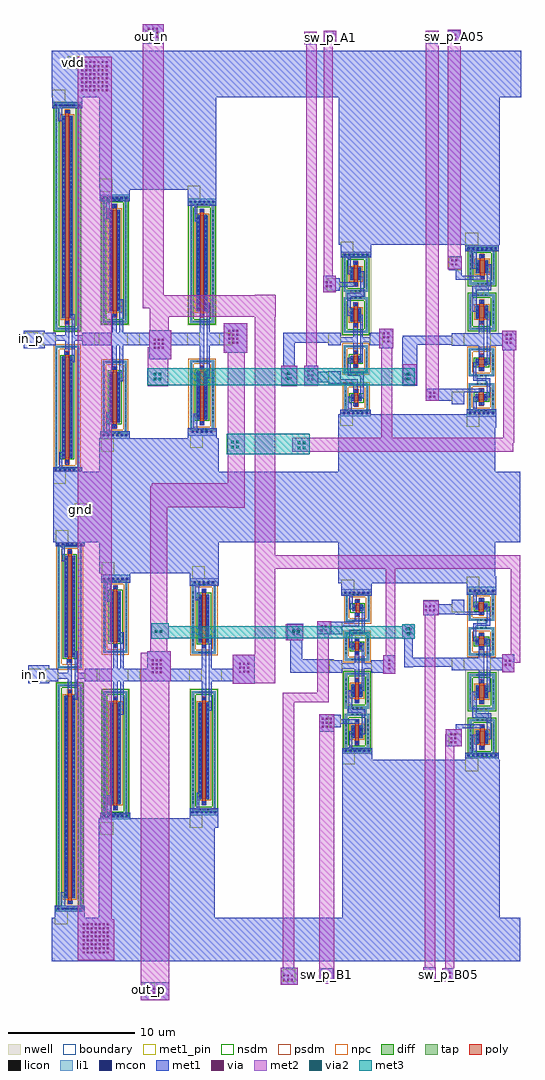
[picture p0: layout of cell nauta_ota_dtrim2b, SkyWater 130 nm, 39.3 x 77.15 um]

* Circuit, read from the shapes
.subckt nauta_ota_dtrim2b gnd in_n in_p out_n out_p sw_n_A05 sw_n_A1 sw_n_B05 sw_n_B1 sw_p_A05 sw_p_A1 sw_p_B05 sw_p_B1 vdd
XM1 out_n in_p gnd gnd sky130_fd_pr__nfet_01v8 w=8 l=0.3
XM2 out_p in_n gnd gnd sky130_fd_pr__nfet_01v8 w=8 l=0.3
XM3 out_n out_n gnd gnd sky130_fd_pr__nfet_01v8 w=4 l=0.3
XM4 out_p out_p gnd gnd sky130_fd_pr__nfet_01v8 w=4 l=0.3
XM5 out_p out_n gnd gnd sky130_fd_pr__nfet_01v8 w=3.8 l=0.3
XM6 out_n out_p gnd gnd sky130_fd_pr__nfet_01v8 w=3.8 l=0.3
XM7 out_p out_n n1 gnd sky130_fd_pr__nfet_01v8 w=0.5 l=0.3
XM8 n1 sw_n_A1 gnd gnd sky130_fd_pr__nfet_01v8 w=0.5 l=0.3
XM9 out_n out_p n2 gnd sky130_fd_pr__nfet_01v8 w=0.5 l=0.3
XM10 n2 sw_n_B1 gnd gnd sky130_fd_pr__nfet_01v8 w=0.5 l=0.3
XM11 n3 sw_n_B05 gnd gnd sky130_fd_pr__nfet_01v8 w=0.5 l=0.4
XM12 n4 sw_n_A05 gnd gnd sky130_fd_pr__nfet_01v8 w=0.5 l=0.4
XM13 out_n out_p n3 gnd sky130_fd_pr__nfet_01v8 w=0.5 l=0.4
XM14 out_p out_n n4 gnd sky130_fd_pr__nfet_01v8 w=0.5 l=0.4
XM15 out_n in_p vdd vdd sky130_fd_pr__pfet_01v8 w=16 l=0.3
XM16 out_p in_n vdd vdd sky130_fd_pr__pfet_01v8 w=16 l=0.3
XM17 out_n out_n vdd vdd sky130_fd_pr__pfet_01v8 w=8 l=0.3
XM18 out_p out_p vdd vdd sky130_fd_pr__pfet_01v8 w=8 l=0.3
XM19 out_p out_n vdd vdd sky130_fd_pr__pfet_01v8 w=7.6 l=0.3
XM20 out_n out_p vdd vdd sky130_fd_pr__pfet_01v8 w=7.6 l=0.3
XM21 out_p out_n n5 vdd sky130_fd_pr__pfet_01v8 w=1 l=0.3
XM22 n5 sw_p_A1 vdd vdd sky130_fd_pr__pfet_01v8 w=1 l=0.3
XM23 n6 sw_p_B1 vdd vdd sky130_fd_pr__pfet_01v8 w=1 l=0.3
XM24 out_n out_p n6 vdd sky130_fd_pr__pfet_01v8 w=1 l=0.3
XM25 out_n out_p n7 vdd sky130_fd_pr__pfet_01v8 w=1 l=0.4
XM26 out_p out_n n8 vdd sky130_fd_pr__pfet_01v8 w=1 l=0.4
XM27 n7 sw_p_B05 vdd vdd sky130_fd_pr__pfet_01v8 w=1 l=0.4
XM28 n8 sw_p_A05 vdd vdd sky130_fd_pr__pfet_01v8 w=1 l=0.4
.ends

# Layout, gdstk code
import gdstk
lib = gdstk.Library(unit=1e-6, precision=1e-09)
def R(c, l, rs):  # rectangles x0, y0, x1, y1
    for r in rs: c.add(gdstk.rectangle(r[:2], r[2:], *l))
def A(c, l, x, y, w, h, nx, ny, dx, dy):  # array of equal rectangles
    R(c, l, [(x+i*dx, y+j*dy, x+i*dx+w, y+j*dy+h) for i in range(nx) for j in range(ny)])
nwell = (64, 20)
diff = (65, 20)
tap = (65, 44)
poly = (66, 20)
licon = (66, 44)
li1 = (67, 20)
mcon = (67, 44)
met1_pin = (68, 16)
met1 = (68, 20)
via = (68, 44)
met2 = (69, 20)
via2 = (69, 44)
met3 = (70, 20)
nsdm = (93, 44)
psdm = (94, 20)
npc = (95, 20)
boundary = (235, 4)

sky130_fd_pr__nfet_01v8_ = lib.new_cell('sky130_fd_pr__nfet_01v8_AXGLWN')
R(sky130_fd_pr__nfet_01v8_, diff, [(-0.49,-0.25,0.49,0.25)])
R(sky130_fd_pr__nfet_01v8_, tap, [(-1,-1.12,1,-0.95), (-1,-0.95,-0.83,0.95), (0.83,-0.95,1,0.95), (-1,0.95,1,1.12)])
R(sky130_fd_pr__nfet_01v8_, poly, [(-0.2,-0.69,0.2,0.69)])
A(sky130_fd_pr__nfet_01v8_, licon, -0.425, -1.12, 0.17, 0.17, 3, 2, 0.34, 2.07)
A(sky130_fd_pr__nfet_01v8_, licon, -1, -0.595, 0.17, 0.17, 1, 4, 0, 0.34)
A(sky130_fd_pr__nfet_01v8_, licon, 0.83, -0.595, 0.17, 0.17, 1, 4, 0, 0.34)
R(sky130_fd_pr__nfet_01v8_, licon, [(-0.085,-0.61,0.085,-0.44), (-0.43,-0.085,-0.26,0.085), (0.26,-0.085,0.43,0.085), (-0.085,0.44,0.085,0.61)])
R(sky130_fd_pr__nfet_01v8_, li1, [(-1,-1.12,1,-0.95), (-1,-0.95,-0.83,0.95), (0.83,-0.95,1,0.95), (-0.2,-0.61,0.2,-0.44), (-0.43,-0.27,-0.26,0.27), (0.26,-0.27,0.43,0.27), (-0.2,0.44,0.2,0.61), (-1,0.95,1,1.12)])
R(sky130_fd_pr__nfet_01v8_, mcon, [(-0.085,-0.61,0.085,-0.44), (-0.43,-0.085,-0.26,0.085), (0.26,-0.085,0.43,0.085), (-0.085,0.44,0.085,0.61)])
R(sky130_fd_pr__nfet_01v8_, met1, [(-0.18,-0.64,0.18,-0.41), (-0.46,-0.25,-0.23,0.25), (0.23,-0.25,0.46,0.25), (-0.18,0.41,0.18,0.64)])
R(sky130_fd_pr__nfet_01v8_, nsdm, [(-0.615,-0.375,0.615,0.375)])
R(sky130_fd_pr__nfet_01v8_, psdm, [(-1.125,-1.245,1.125,-0.825), (-1.125,-0.825,-0.705,0.825), (0.705,-0.825,1.125,0.825), (-1.125,0.825,1.125,1.245)])
R(sky130_fd_pr__nfet_01v8_, npc, [(-0.185,-0.71,0.185,-0.34), (-0.185,0.34,0.185,0.71)])
R(sky130_fd_pr__nfet_01v8_, boundary, [(-0.91,-1.03,0.91,1.03)])

sky130_fd_pr__pfet_01v8_ = lib.new_cell('sky130_fd_pr__pfet_01v8_XPYS9A')
R(sky130_fd_pr__pfet_01v8_, nwell, [(-1.18,-1.595,1.18,1.595)])
R(sky130_fd_pr__pfet_01v8_, diff, [(-0.49,-0.5,0.49,0.5)])
R(sky130_fd_pr__pfet_01v8_, tap, [(-1,-1.415,1,-1.245), (-1,-1.245,-0.83,1.245), (0.83,-1.245,1,1.245), (-1,1.245,1,1.415)])
R(sky130_fd_pr__pfet_01v8_, poly, [(-0.2,-0.985,0.2,0.985)])
A(sky130_fd_pr__pfet_01v8_, licon, -0.425, -1.415, 0.17, 0.17, 3, 2, 0.34, 2.66)
A(sky130_fd_pr__pfet_01v8_, licon, -1, -0.935, 0.17, 0.17, 1, 6, 0, 0.34)
A(sky130_fd_pr__pfet_01v8_, licon, 0.83, -0.935, 0.17, 0.17, 1, 6, 0, 0.34)
A(sky130_fd_pr__pfet_01v8_, licon, -0.43, -0.425, 0.17, 0.17, 1, 3, 0, 0.34)
A(sky130_fd_pr__pfet_01v8_, licon, 0.26, -0.425, 0.17, 0.17, 1, 3, 0, 0.34)
R(sky130_fd_pr__pfet_01v8_, licon, [(-0.085,-0.905,0.085,-0.735), (-0.085,0.735,0.085,0.905)])
R(sky130_fd_pr__pfet_01v8_, li1, [(-1,-1.415,1,-1.245), (-1,-1.245,-0.83,1.245), (0.83,-1.245,1,1.245), (-0.2,-0.905,0.2,-0.735), (-0.43,-0.52,-0.26,0.52), (0.26,-0.52,0.43,0.52), (-0.2,0.735,0.2,0.905), (-1,1.245,1,1.415)])
R(sky130_fd_pr__pfet_01v8_, mcon, [(-0.085,-0.905,0.085,-0.735), (-0.43,-0.265,-0.26,-0.095), (0.26,-0.265,0.43,-0.095), (-0.43,0.095,-0.26,0.265), (0.26,0.095,0.43,0.265), (-0.085,0.735,0.085,0.905)])
R(sky130_fd_pr__pfet_01v8_, met1, [(-0.18,-0.935,0.18,-0.705), (-0.46,-0.5,-0.23,0.5), (0.23,-0.5,0.46,0.5), (-0.18,0.705,0.18,0.935)])
R(sky130_fd_pr__pfet_01v8_, nsdm, [(-1.125,-1.54,1.125,-1.12), (-1.125,-1.12,-0.705,1.12), (0.705,-1.12,1.125,1.12), (-1.125,1.12,1.125,1.54)])
R(sky130_fd_pr__pfet_01v8_, psdm, [(-0.615,-0.625,0.615,0.625)])
R(sky130_fd_pr__pfet_01v8_, npc, [(-0.185,-1.005,0.185,-0.635), (-0.185,0.635,0.185,1.005)])
R(sky130_fd_pr__pfet_01v8_, boundary, [(-0.915,-1.33,0.915,1.33)])

cc_inv_dt05_long = lib.new_cell('cc_inv_dt05_long')
R(cc_inv_dt05_long, nwell, [(6.05,-3.5,8.7,3.45)])
R(cc_inv_dt05_long, li1, [(6.15,-10.05,8.5,-9.45), (7,-7.5,7.7,-6.75), (6.85,-0.45,7.9,0.45), (6.05,3.05,8.7,3.5)])
A(cc_inv_dt05_long, mcon, 6.34, -9.835, 0.17, 0.17, 6, 1, 0.36, 0)
A(cc_inv_dt05_long, mcon, 6.21, 3.165, 0.17, 0.17, 7, 1, 0.36, 0)
R(cc_inv_dt05_long, met1_pin, [(6.15,-10.85,7.15,-9.85), (4.95,-9.05,5.95,-8.05), (4.95,-4.45,5.95,-3.45), (8,-4.45,9,-3.45), (4.75,1.55,5.75,2.55), (6.05,3.5,7.05,4.5)])
R(cc_inv_dt05_long, met1, [(6.15,-10.9,8.5,-9.45), (6.65,-9.45,6.95,-8.45), (7.1,-9.15,7.55,-8.9), (4.95,-9.05,5.95,-8.1), (7.75,-8.5,8,-7.2), (4.95,-8.1,7.55,-8.05), (5.25,-8.05,7.55,-7.85), (6.65,-7.2,8,-7), (6.65,-7,6.9,-5.75), (7.1,-6.4,7.55,-6.15), (7.75,-5.9,8,-4.45), (7.1,-5.35,7.55,-4.45), (4.95,-4.45,7.55,-3.45), (7.75,-4.45,9,-3.45), (7.1,-3.45,7.55,-2.45), (7.75,-3.45,8,-1.75), (6.6,-1.75,6.95,-0.05), (7.15,-1.1,7.55,-0.8), (6.6,-0.05,8.1,0.3), (7.75,0.3,8.1,2), (5.3,0.8,7.55,1.1), (5.3,1.1,5.75,1.55), (4.75,1.55,5.75,2.55), (6.6,1.65,6.95,3.05), (7.15,2.5,7.55,2.8), (6.05,3.05,8.7,4.5)])
R(cc_inv_dt05_long, psdm, [(6.195,-7.255,8.435,-6.985)])
cc_inv_dt05_long.add(gdstk.Reference(sky130_fd_pr__nfet_01v8_, (7.31,-8.5)))
cc_inv_dt05_long.add(gdstk.Reference(sky130_fd_pr__pfet_01v8_, (7.37,1.815)))
cc_inv_dt05_long.add(gdstk.Reference(sky130_fd_pr__pfet_01v8_, (7.35,-1.765)))
cc_inv_dt05_long.add(gdstk.Reference(sky130_fd_pr__nfet_01v8_, (7.32,-5.74)))
cc_inv_dt05_long.add(gdstk.Label('vdd', (6.55,4), layer=68, texttype=5))
cc_inv_dt05_long.add(gdstk.Label('out', (8.5,-3.95), layer=68, texttype=5))
cc_inv_dt05_long.add(gdstk.Label('in', (5.45,-3.95), layer=68, texttype=5))
cc_inv_dt05_long.add(gdstk.Label('sw_p', (5.25,2.05), layer=68, texttype=5))
cc_inv_dt05_long.add(gdstk.Label('sw_n', (5.45,-8.55), layer=68, texttype=5))
cc_inv_dt05_long.add(gdstk.Label('gnd', (6.65,-10.35), layer=68, texttype=5))

c_sky130_fd_pr__nfet_01v8_ = lib.new_cell('sky130_fd_pr__nfet_01v8_SALLWN')
R(c_sky130_fd_pr__nfet_01v8_, diff, [(-0.44,-0.25,0.44,0.25)])
R(c_sky130_fd_pr__nfet_01v8_, tap, [(-0.95,-1.12,0.95,-0.95), (-0.95,-0.95,-0.78,0.95), (0.78,-0.95,0.95,0.95), (-0.95,0.95,0.95,1.12)])
R(c_sky130_fd_pr__nfet_01v8_, poly, [(-0.165,-0.69,0.165,-0.36), (-0.15,-0.36,0.15,0.36), (-0.165,0.36,0.165,0.69)])
A(c_sky130_fd_pr__nfet_01v8_, licon, -0.425, -1.12, 0.17, 0.17, 3, 2, 0.34, 2.07)
A(c_sky130_fd_pr__nfet_01v8_, licon, -0.95, -0.595, 0.17, 0.17, 1, 4, 0, 0.34)
A(c_sky130_fd_pr__nfet_01v8_, licon, 0.78, -0.595, 0.17, 0.17, 1, 4, 0, 0.34)
R(c_sky130_fd_pr__nfet_01v8_, licon, [(-0.085,-0.61,0.085,-0.44), (-0.38,-0.085,-0.21,0.085), (0.21,-0.085,0.38,0.085), (-0.085,0.44,0.085,0.61)])
R(c_sky130_fd_pr__nfet_01v8_, li1, [(-0.95,-1.12,0.95,-0.95), (-0.95,-0.95,-0.78,0.95), (0.78,-0.95,0.95,0.95), (-0.165,-0.61,0.165,-0.44), (-0.38,-0.27,-0.21,0.27), (0.21,-0.27,0.38,0.27), (-0.165,0.44,0.165,0.61), (-0.95,0.95,0.95,1.12)])
R(c_sky130_fd_pr__nfet_01v8_, mcon, [(-0.085,-0.61,0.085,-0.44), (-0.38,-0.085,-0.21,0.085), (0.21,-0.085,0.38,0.085), (-0.085,0.44,0.085,0.61)])
R(c_sky130_fd_pr__nfet_01v8_, met1, [(-0.145,-0.64,0.145,-0.41), (-0.41,-0.25,-0.18,0.25), (0.18,-0.25,0.41,0.25), (-0.145,0.41,0.145,0.64)])
R(c_sky130_fd_pr__nfet_01v8_, nsdm, [(-0.565,-0.375,0.565,0.375)])
R(c_sky130_fd_pr__nfet_01v8_, psdm, [(-1.075,-1.245,1.075,-0.825), (-1.075,-0.825,-0.655,0.825), (0.655,-0.825,1.075,0.825), (-1.075,0.825,1.075,1.245)])
R(c_sky130_fd_pr__nfet_01v8_, npc, [(-0.185,-0.71,0.185,-0.34), (-0.185,0.34,0.185,0.71)])
R(c_sky130_fd_pr__nfet_01v8_, boundary, [(-0.865,-1.035,0.865,1.035)])

c_sky130_fd_pr__pfet_01v8_ = lib.new_cell('sky130_fd_pr__pfet_01v8_6QYSWZ')
R(c_sky130_fd_pr__pfet_01v8_, nwell, [(-1.13,-1.595,1.13,1.595)])
R(c_sky130_fd_pr__pfet_01v8_, diff, [(-0.44,-0.5,0.44,0.5)])
R(c_sky130_fd_pr__pfet_01v8_, tap, [(-0.95,-1.415,0.95,-1.245), (-0.95,-1.245,-0.78,1.245), (0.78,-1.245,0.95,1.245), (-0.95,1.245,0.95,1.415)])
R(c_sky130_fd_pr__pfet_01v8_, poly, [(-0.165,-0.985,0.165,-0.655), (-0.15,-0.655,0.15,0.655), (-0.165,0.655,0.165,0.985)])
A(c_sky130_fd_pr__pfet_01v8_, licon, -0.425, -1.415, 0.17, 0.17, 3, 2, 0.34, 2.66)
A(c_sky130_fd_pr__pfet_01v8_, licon, -0.95, -0.935, 0.17, 0.17, 1, 6, 0, 0.34)
A(c_sky130_fd_pr__pfet_01v8_, licon, 0.78, -0.935, 0.17, 0.17, 1, 6, 0, 0.34)
A(c_sky130_fd_pr__pfet_01v8_, licon, -0.38, -0.425, 0.17, 0.17, 1, 3, 0, 0.34)
A(c_sky130_fd_pr__pfet_01v8_, licon, 0.21, -0.425, 0.17, 0.17, 1, 3, 0, 0.34)
R(c_sky130_fd_pr__pfet_01v8_, licon, [(-0.085,-0.905,0.085,-0.735), (-0.085,0.735,0.085,0.905)])
R(c_sky130_fd_pr__pfet_01v8_, li1, [(-0.95,-1.415,0.95,-1.245), (-0.95,-1.245,-0.78,1.245), (0.78,-1.245,0.95,1.245), (-0.165,-0.905,0.165,-0.735), (-0.38,-0.52,-0.21,0.52), (0.21,-0.52,0.38,0.52), (-0.165,0.735,0.165,0.905), (-0.95,1.245,0.95,1.415)])
R(c_sky130_fd_pr__pfet_01v8_, mcon, [(-0.085,-0.905,0.085,-0.735), (-0.38,-0.265,-0.21,-0.095), (0.21,-0.265,0.38,-0.095), (-0.38,0.095,-0.21,0.265), (0.21,0.095,0.38,0.265), (-0.085,0.735,0.085,0.905)])
R(c_sky130_fd_pr__pfet_01v8_, met1, [(-0.145,-0.935,0.145,-0.705), (-0.41,-0.5,-0.18,0.5), (0.18,-0.5,0.41,0.5), (-0.145,0.705,0.145,0.935)])
R(c_sky130_fd_pr__pfet_01v8_, nsdm, [(-1.075,-1.54,1.075,-1.12), (-1.075,-1.12,-0.655,1.12), (0.655,-1.12,1.075,1.12), (-1.075,1.12,1.075,1.54)])
R(c_sky130_fd_pr__pfet_01v8_, psdm, [(-0.565,-0.625,0.565,0.625)])
R(c_sky130_fd_pr__pfet_01v8_, npc, [(-0.185,-1.005,0.185,-0.635), (-0.185,0.635,0.185,1.005)])
R(c_sky130_fd_pr__pfet_01v8_, boundary, [(-0.865,-1.33,0.865,1.33)])

cc_inv_dt05 = lib.new_cell('cc_inv_dt05')
R(cc_inv_dt05, nwell, [(6,-4.85,8.4,1.8)])
R(cc_inv_dt05, li1, [(5.95,-11.2,8.35,-10.7), (6.4,-1.95,7.95,-1.25), (6,1.35,8.4,1.75)])
A(cc_inv_dt05, mcon, 6.165, -11.035, 0.17, 0.17, 6, 1, 0.36, 0)
A(cc_inv_dt05, mcon, 6.215, 1.465, 0.17, 0.17, 6, 1, 0.36, 0)
R(cc_inv_dt05, met1_pin, [(5.95,-11.95,6.95,-10.95), (5,-8.65,6,-7.65), (5,-5.6,6,-4.6), (8.3,-5.6,9.3,-4.6), (4.9,-1.3,5.9,-0.3), (6,1.6,7,2.6)])
R(cc_inv_dt05, met1, [(5.95,-11.95,8.35,-10.7), (6.55,-10.7,6.85,-9.65), (7,-10.4,7.35,-10.15), (7.55,-9.8,7.8,-8), (7,-9.35,7.35,-8.65), (5,-8.65,7.35,-8.3), (5,-8.3,6,-7.65), (6.55,-8,7.8,-7.75), (6.55,-7.75,6.8,-6.6), (7,-7.35,7.35,-7.1), (7.55,-6.95,7.75,-5.35), (7,-6.3,7.35,-5.35), (5,-5.6,6,-5.35), (8.3,-5.6,9.3,-5.35), (5,-5.35,7.35,-4.95), (7.55,-5.35,9.3,-4.95), (5,-4.95,6,-4.6), (7,-4.95,7.35,-3.85), (7.55,-4.95,7.75,-3.2), (8.3,-4.95,9.3,-4.6), (6.5,-3.25,6.8,-1.75), (7,-2.5,7.35,-2.2), (6.5,-1.75,7.85,-1.45), (7.55,-1.45,7.85,0.25), (4.9,-1.3,5.9,-0.95), (4.9,-0.95,7.35,-0.6), (4.9,-0.6,5.9,-0.3), (6.55,0,6.8,1.35), (7,0.8,7.35,1.1), (6,1.35,8.4,2.6)])
R(cc_inv_dt05, nsdm, [(6.105,-1.665,8.255,-1.495)])
cc_inv_dt05.add(gdstk.Reference(c_sky130_fd_pr__nfet_01v8_, (7.23,-9.75)))
cc_inv_dt05.add(gdstk.Reference(c_sky130_fd_pr__pfet_01v8_, (7.18,0.045)))
cc_inv_dt05.add(gdstk.Reference(c_sky130_fd_pr__pfet_01v8_, (7.18,-3.205)))
cc_inv_dt05.add(gdstk.Reference(c_sky130_fd_pr__nfet_01v8_, (7.18,-6.7)))
cc_inv_dt05.add(gdstk.Label('vdd', (6.5,2.1), layer=68, texttype=5))
cc_inv_dt05.add(gdstk.Label('out', (8.8,-5.1), layer=68, texttype=5))
cc_inv_dt05.add(gdstk.Label('in', (5.5,-5.1), layer=68, texttype=5))
cc_inv_dt05.add(gdstk.Label('sw_p', (5.4,-0.8), layer=68, texttype=5))
cc_inv_dt05.add(gdstk.Label('sw_n', (5.5,-8.15), layer=68, texttype=5))
cc_inv_dt05.add(gdstk.Label('gnd', (6.45,-11.45), layer=68, texttype=5))

c_sky130_fd_pr__pfet_01v8__ = lib.new_cell('sky130_fd_pr__pfet_01v8_E6W7WZ')
R(c_sky130_fd_pr__pfet_01v8__, nwell, [(-1.13,-4.895,1.13,4.895)])
R(c_sky130_fd_pr__pfet_01v8__, diff, [(-0.44,-3.8,0.44,3.8)])
R(c_sky130_fd_pr__pfet_01v8__, tap, [(-0.95,-4.715,0.95,-4.545), (-0.95,-4.545,-0.78,4.545), (0.78,-4.545,0.95,4.545), (-0.95,4.545,0.95,4.715)])
R(c_sky130_fd_pr__pfet_01v8__, poly, [(-0.165,-4.285,0.165,-3.955), (-0.15,-3.955,0.15,3.955), (-0.165,3.955,0.165,4.285)])
A(c_sky130_fd_pr__pfet_01v8__, licon, -0.425, -4.715, 0.17, 0.17, 3, 2, 0.34, 9.26)
A(c_sky130_fd_pr__pfet_01v8__, licon, -0.95, -4.165, 0.17, 0.17, 1, 25, 0, 0.34)
A(c_sky130_fd_pr__pfet_01v8__, licon, 0.78, -4.165, 0.17, 0.17, 1, 25, 0, 0.34)
A(c_sky130_fd_pr__pfet_01v8__, licon, -0.38, -3.655, 0.17, 0.17, 1, 22, 0, 0.34)
A(c_sky130_fd_pr__pfet_01v8__, licon, 0.21, -3.655, 0.17, 0.17, 1, 22, 0, 0.34)
R(c_sky130_fd_pr__pfet_01v8__, licon, [(-0.085,-4.205,0.085,-4.035), (-0.085,4.035,0.085,4.205)])
R(c_sky130_fd_pr__pfet_01v8__, li1, [(-0.95,-4.715,0.95,-4.545), (-0.95,-4.545,-0.78,4.545), (0.78,-4.545,0.95,4.545), (-0.165,-4.205,0.165,-4.035), (-0.38,-3.82,-0.21,3.82), (0.21,-3.82,0.38,3.82), (-0.165,4.035,0.165,4.205), (-0.95,4.545,0.95,4.715)])
A(c_sky130_fd_pr__pfet_01v8__, mcon, -0.38, -3.685, 0.17, 0.17, 1, 21, 0, 0.36)
A(c_sky130_fd_pr__pfet_01v8__, mcon, 0.21, -3.685, 0.17, 0.17, 1, 21, 0, 0.36)
R(c_sky130_fd_pr__pfet_01v8__, mcon, [(-0.085,-4.205,0.085,-4.035), (-0.085,4.035,0.085,4.205)])
R(c_sky130_fd_pr__pfet_01v8__, met1, [(-0.145,-4.235,0.145,-4.005), (-0.41,-3.8,-0.18,3.8), (0.18,-3.8,0.41,3.8), (-0.145,4.005,0.145,4.235)])
R(c_sky130_fd_pr__pfet_01v8__, nsdm, [(-1.075,-4.84,1.075,-4.42), (-1.075,-4.42,-0.655,4.42), (0.655,-4.42,1.075,4.42), (-1.075,4.42,1.075,4.84)])
R(c_sky130_fd_pr__pfet_01v8__, psdm, [(-0.565,-3.925,0.565,3.925)])
R(c_sky130_fd_pr__pfet_01v8__, npc, [(-0.185,-4.305,0.185,-3.935), (-0.185,3.935,0.185,4.305)])
R(c_sky130_fd_pr__pfet_01v8__, boundary, [(-0.865,-4.63,0.865,4.63)])

c_sky130_fd_pr__nfet_01v8__ = lib.new_cell('sky130_fd_pr__nfet_01v8_C4HEJZ')
R(c_sky130_fd_pr__nfet_01v8__, diff, [(-0.44,-1.9,0.44,1.9)])
R(c_sky130_fd_pr__nfet_01v8__, tap, [(-0.95,-2.77,0.95,-2.6), (-0.95,-2.6,-0.78,2.6), (0.78,-2.6,0.95,2.6), (-0.95,2.6,0.95,2.77)])
R(c_sky130_fd_pr__nfet_01v8__, poly, [(-0.165,-2.34,0.165,-2.01), (-0.15,-2.01,0.15,2.01), (-0.165,2.01,0.165,2.34)])
A(c_sky130_fd_pr__nfet_01v8__, licon, -0.425, -2.77, 0.17, 0.17, 3, 2, 0.34, 5.37)
A(c_sky130_fd_pr__nfet_01v8__, licon, -0.95, -2.125, 0.17, 0.17, 1, 13, 0, 0.34)
A(c_sky130_fd_pr__nfet_01v8__, licon, 0.78, -2.125, 0.17, 0.17, 1, 13, 0, 0.34)
A(c_sky130_fd_pr__nfet_01v8__, licon, -0.38, -1.785, 0.17, 0.17, 1, 11, 0, 0.34)
A(c_sky130_fd_pr__nfet_01v8__, licon, 0.21, -1.785, 0.17, 0.17, 1, 11, 0, 0.34)
R(c_sky130_fd_pr__nfet_01v8__, licon, [(-0.085,-2.26,0.085,-2.09), (-0.085,2.09,0.085,2.26)])
R(c_sky130_fd_pr__nfet_01v8__, li1, [(-0.95,-2.77,0.95,-2.6), (-0.95,-2.6,-0.78,2.6), (0.78,-2.6,0.95,2.6), (-0.165,-2.26,0.165,-2.09), (-0.38,-1.92,-0.21,1.92), (0.21,-1.92,0.38,1.92), (-0.165,2.09,0.165,2.26), (-0.95,2.6,0.95,2.77)])
A(c_sky130_fd_pr__nfet_01v8__, mcon, -0.38, -1.705, 0.17, 0.17, 1, 10, 0, 0.36)
A(c_sky130_fd_pr__nfet_01v8__, mcon, 0.21, -1.705, 0.17, 0.17, 1, 10, 0, 0.36)
R(c_sky130_fd_pr__nfet_01v8__, mcon, [(-0.085,-2.26,0.085,-2.09), (-0.085,2.09,0.085,2.26)])
R(c_sky130_fd_pr__nfet_01v8__, met1, [(-0.145,-2.29,0.145,-2.06), (-0.41,-1.9,-0.18,1.9), (0.18,-1.9,0.41,1.9), (-0.145,2.06,0.145,2.29)])
R(c_sky130_fd_pr__nfet_01v8__, nsdm, [(-0.565,-2.025,0.565,2.025)])
R(c_sky130_fd_pr__nfet_01v8__, psdm, [(-1.075,-2.895,1.075,-2.475), (-1.075,-2.475,-0.655,2.475), (0.655,-2.475,1.075,2.475), (-1.075,2.475,1.075,2.895)])
R(c_sky130_fd_pr__nfet_01v8__, npc, [(-0.185,-2.36,0.185,-1.99), (-0.185,1.99,0.185,2.36)])
R(c_sky130_fd_pr__nfet_01v8__, boundary, [(-0.865,-2.685,0.865,2.685)])

cc_inv_4 = lib.new_cell('cc_inv_4')
R(cc_inv_4, li1, [(3.9,-10,6.2,-9.4), (3.9,8.2,6.15,8.75)])
A(cc_inv_4, mcon, 4.22, -9.76, 0.17, 0.17, 5, 1, 0.36, 0)
A(cc_inv_4, mcon, 4.04, 8.415, 0.17, 0.17, 6, 1, 0.36, 0)
R(cc_inv_4, met1_pin, [(4.1,-10.95,5.1,-9.95), (3.85,-2.85,4.85,-1.85), (6.4,-2.85,7.4,-1.85), (3.9,8.75,4.9,9.75)])
R(cc_inv_4, met1, [(3.9,-10.95,6.2,-9.4), (4.35,-9.4,4.65,-8.25), (4.85,-9.15,5.2,-8.85), (5.4,-5.45,5.65,-2.85), (4.85,-4.75,5.2,-2.85), (3.85,-2.85,5.2,-1.85), (5.4,-2.85,7.4,-1.85), (4.85,-1.85,5.2,-0.35), (5.4,-1.85,5.65,0.5), (4.45,6.95,4.65,8.2), (4.85,7.65,5.2,7.95), (3.9,8.2,6.15,9.75)])
cc_inv_4.add(gdstk.Reference(c_sky130_fd_pr__pfet_01v8__, (5.03,3.645)))
cc_inv_4.add(gdstk.Reference(c_sky130_fd_pr__nfet_01v8__, (5.03,-6.8)))
cc_inv_4.add(gdstk.Label('vdd', (4.4,9.25), layer=68, texttype=5))
cc_inv_4.add(gdstk.Label('in', (4.35,-2.35), layer=68, texttype=5))
cc_inv_4.add(gdstk.Label('out', (6.9,-2.35), layer=68, texttype=5))
cc_inv_4.add(gdstk.Label('gnd', (4.6,-10.45), layer=68, texttype=5))

c_sky130_fd_pr__pfet_01v8___ = lib.new_cell('sky130_fd_pr__pfet_01v8_SKDPWJ')
R(c_sky130_fd_pr__pfet_01v8___, nwell, [(-1.13,-5.095,1.13,5.095)])
R(c_sky130_fd_pr__pfet_01v8___, diff, [(-0.44,-4,0.44,4)])
R(c_sky130_fd_pr__pfet_01v8___, tap, [(-0.95,-4.915,0.95,-4.745), (-0.95,-4.745,-0.78,4.745), (0.78,-4.745,0.95,4.745), (-0.95,4.745,0.95,4.915)])
R(c_sky130_fd_pr__pfet_01v8___, poly, [(-0.165,-4.485,0.165,-4.155), (-0.15,-4.155,0.15,4.155), (-0.165,4.155,0.165,4.485)])
A(c_sky130_fd_pr__pfet_01v8___, licon, -0.425, -4.915, 0.17, 0.17, 3, 2, 0.34, 9.66)
A(c_sky130_fd_pr__pfet_01v8___, licon, -0.95, -4.335, 0.17, 0.17, 1, 26, 0, 0.34)
A(c_sky130_fd_pr__pfet_01v8___, licon, 0.78, -4.335, 0.17, 0.17, 1, 26, 0, 0.34)
A(c_sky130_fd_pr__pfet_01v8___, licon, -0.38, -3.825, 0.17, 0.17, 1, 23, 0, 0.34)
A(c_sky130_fd_pr__pfet_01v8___, licon, 0.21, -3.825, 0.17, 0.17, 1, 23, 0, 0.34)
R(c_sky130_fd_pr__pfet_01v8___, licon, [(-0.085,-4.405,0.085,-4.235), (-0.085,4.235,0.085,4.405)])
R(c_sky130_fd_pr__pfet_01v8___, li1, [(-0.95,-4.915,0.95,-4.745), (-0.95,-4.745,-0.78,4.745), (0.78,-4.745,0.95,4.745), (-0.165,-4.405,0.165,-4.235), (-0.38,-4.02,-0.21,4.02), (0.21,-4.02,0.38,4.02), (-0.165,4.235,0.165,4.405), (-0.95,4.745,0.95,4.915)])
A(c_sky130_fd_pr__pfet_01v8___, mcon, -0.38, -3.865, 0.17, 0.17, 1, 22, 0, 0.36)
A(c_sky130_fd_pr__pfet_01v8___, mcon, 0.21, -3.865, 0.17, 0.17, 1, 22, 0, 0.36)
R(c_sky130_fd_pr__pfet_01v8___, mcon, [(-0.085,-4.405,0.085,-4.235), (-0.085,4.235,0.085,4.405)])
R(c_sky130_fd_pr__pfet_01v8___, met1, [(-0.145,-4.435,0.145,-4.205), (-0.41,-4,-0.18,4), (0.18,-4,0.41,4), (-0.145,4.205,0.145,4.435)])
R(c_sky130_fd_pr__pfet_01v8___, nsdm, [(-1.075,-5.04,1.075,-4.62), (-1.075,-4.62,-0.655,4.62), (0.655,-4.62,1.075,4.62), (-1.075,4.62,1.075,5.04)])
R(c_sky130_fd_pr__pfet_01v8___, psdm, [(-0.565,-4.125,0.565,4.125)])
R(c_sky130_fd_pr__pfet_01v8___, npc, [(-0.185,-4.505,0.185,-4.135), (-0.185,4.135,0.185,4.505)])
R(c_sky130_fd_pr__pfet_01v8___, boundary, [(-0.865,-4.83,0.865,4.83)])

c_sky130_fd_pr__nfet_01v8___ = lib.new_cell('sky130_fd_pr__nfet_01v8_SALWK2')
R(c_sky130_fd_pr__nfet_01v8___, diff, [(-0.44,-2,0.44,2)])
R(c_sky130_fd_pr__nfet_01v8___, tap, [(-0.95,-2.87,0.95,-2.7), (-0.95,-2.7,-0.78,2.7), (0.78,-2.7,0.95,2.7), (-0.95,2.7,0.95,2.87)])
R(c_sky130_fd_pr__nfet_01v8___, poly, [(-0.165,-2.44,0.165,-2.11), (-0.15,-2.11,0.15,2.11), (-0.165,2.11,0.165,2.44)])
A(c_sky130_fd_pr__nfet_01v8___, licon, -0.425, -2.87, 0.17, 0.17, 3, 2, 0.34, 5.57)
A(c_sky130_fd_pr__nfet_01v8___, licon, -0.95, -2.295, 0.17, 0.17, 1, 14, 0, 0.34)
A(c_sky130_fd_pr__nfet_01v8___, licon, 0.78, -2.295, 0.17, 0.17, 1, 14, 0, 0.34)
A(c_sky130_fd_pr__nfet_01v8___, licon, -0.38, -1.785, 0.17, 0.17, 1, 11, 0, 0.34)
A(c_sky130_fd_pr__nfet_01v8___, licon, 0.21, -1.785, 0.17, 0.17, 1, 11, 0, 0.34)
R(c_sky130_fd_pr__nfet_01v8___, licon, [(-0.085,-2.36,0.085,-2.19), (-0.085,2.19,0.085,2.36)])
R(c_sky130_fd_pr__nfet_01v8___, li1, [(-0.95,-2.87,0.95,-2.7), (-0.95,-2.7,-0.78,2.7), (0.78,-2.7,0.95,2.7), (-0.165,-2.36,0.165,-2.19), (-0.38,-2.02,-0.21,2.02), (0.21,-2.02,0.38,2.02), (-0.165,2.19,0.165,2.36), (-0.95,2.7,0.95,2.87)])
A(c_sky130_fd_pr__nfet_01v8___, mcon, -0.38, -1.885, 0.17, 0.17, 1, 11, 0, 0.36)
A(c_sky130_fd_pr__nfet_01v8___, mcon, 0.21, -1.885, 0.17, 0.17, 1, 11, 0, 0.36)
R(c_sky130_fd_pr__nfet_01v8___, mcon, [(-0.085,-2.36,0.085,-2.19), (-0.085,2.19,0.085,2.36)])
R(c_sky130_fd_pr__nfet_01v8___, met1, [(-0.145,-2.39,0.145,-2.16), (-0.41,-2,-0.18,2), (0.18,-2,0.41,2), (-0.145,2.16,0.145,2.39)])
R(c_sky130_fd_pr__nfet_01v8___, nsdm, [(-0.565,-2.125,0.565,2.125)])
R(c_sky130_fd_pr__nfet_01v8___, psdm, [(-1.075,-2.995,1.075,-2.575), (-1.075,-2.575,-0.655,2.575), (0.655,-2.575,1.075,2.575), (-1.075,2.575,1.075,2.995)])
R(c_sky130_fd_pr__nfet_01v8___, npc, [(-0.185,-2.46,0.185,-2.09), (-0.185,2.09,0.185,2.46)])
R(c_sky130_fd_pr__nfet_01v8___, boundary, [(-0.865,-2.785,0.865,2.785)])

sc_inv = lib.new_cell('sc_inv')
R(sc_inv, li1, [(5.65,-11.7,7.95,-11.1), (5.6,7.1,7.95,7.6)])
A(sc_inv, mcon, 5.815, -11.485, 0.17, 0.17, 6, 1, 0.36, 0)
A(sc_inv, mcon, 5.79, 7.265, 0.17, 0.17, 6, 1, 0.36, 0)
R(sc_inv, met1_pin, [(5.7,-12.7,6.7,-11.7), (5.5,-4.3,6.5,-3.3), (7.75,-4.3,8.75,-3.3), (5.6,7.85,6.6,8.85)])
R(sc_inv, met1, [(5.65,-12.75,7.95,-11.1), (6.1,-11.1,6.4,-9.6), (6.6,-10.9,6.95,-10.55), (7.15,-7.15,7.45,-4.3), (6.6,-6.25,6.95,-4.3), (5.5,-4.3,6.95,-3.3), (7.15,-4.3,8.75,-3.3), (6.6,-3.3,6.95,-1.85), (7.15,-3.3,7.45,-0.65), (6.1,5.7,6.4,7.1), (6.6,6.55,6.95,6.9), (5.6,7.1,7.95,8.85)])
sc_inv.add(gdstk.Reference(c_sky130_fd_pr__pfet_01v8___, (6.78,2.395)))
sc_inv.add(gdstk.Reference(c_sky130_fd_pr__nfet_01v8___, (6.78,-8.4)))
sc_inv.add(gdstk.Label('vdd', (6.1,8.35), layer=68, texttype=5))
sc_inv.add(gdstk.Label('in', (6,-3.8), layer=68, texttype=5))
sc_inv.add(gdstk.Label('out', (8.25,-3.8), layer=68, texttype=5))
sc_inv.add(gdstk.Label('gnd', (6.2,-12.2), layer=68, texttype=5))

c_sky130_fd_pr__pfet_01v8____ = lib.new_cell('sky130_fd_pr__pfet_01v8_XP7VY6')
R(c_sky130_fd_pr__pfet_01v8____, nwell, [(-1.13,-9.095,1.13,9.095)])
R(c_sky130_fd_pr__pfet_01v8____, diff, [(-0.44,-8,0.44,8)])
R(c_sky130_fd_pr__pfet_01v8____, tap, [(-0.95,-8.915,0.95,-8.745), (-0.95,-8.745,-0.78,8.745), (0.78,-8.745,0.95,8.745), (-0.95,8.745,0.95,8.915)])
R(c_sky130_fd_pr__pfet_01v8____, poly, [(-0.165,-8.485,0.165,-8.155), (-0.15,-8.155,0.15,8.155), (-0.165,8.155,0.165,8.485)])
A(c_sky130_fd_pr__pfet_01v8____, licon, -0.425, -8.915, 0.17, 0.17, 3, 2, 0.34, 17.66)
A(c_sky130_fd_pr__pfet_01v8____, licon, -0.95, -8.415, 0.17, 0.17, 1, 50, 0, 0.34)
A(c_sky130_fd_pr__pfet_01v8____, licon, 0.78, -8.415, 0.17, 0.17, 1, 50, 0, 0.34)
A(c_sky130_fd_pr__pfet_01v8____, licon, -0.38, -7.905, 0.17, 0.17, 1, 47, 0, 0.34)
A(c_sky130_fd_pr__pfet_01v8____, licon, 0.21, -7.905, 0.17, 0.17, 1, 47, 0, 0.34)
R(c_sky130_fd_pr__pfet_01v8____, licon, [(-0.085,-8.405,0.085,-8.235), (-0.085,8.235,0.085,8.405)])
R(c_sky130_fd_pr__pfet_01v8____, li1, [(-0.95,-8.915,0.95,-8.745), (-0.95,-8.745,-0.78,8.745), (0.78,-8.745,0.95,8.745), (-0.165,-8.405,0.165,-8.235), (-0.38,-8.02,-0.21,8.02), (0.21,-8.02,0.38,8.02), (-0.165,8.235,0.165,8.405), (-0.95,8.745,0.95,8.915)])
A(c_sky130_fd_pr__pfet_01v8____, mcon, -0.38, -7.825, 0.17, 0.17, 1, 44, 0, 0.36)
A(c_sky130_fd_pr__pfet_01v8____, mcon, 0.21, -7.825, 0.17, 0.17, 1, 44, 0, 0.36)
R(c_sky130_fd_pr__pfet_01v8____, mcon, [(-0.085,-8.405,0.085,-8.235), (-0.085,8.235,0.085,8.405)])
R(c_sky130_fd_pr__pfet_01v8____, met1, [(-0.145,-8.435,0.145,-8.205), (-0.41,-8,-0.18,8), (0.18,-8,0.41,8), (-0.145,8.205,0.145,8.435)])
R(c_sky130_fd_pr__pfet_01v8____, nsdm, [(-1.075,-9.04,1.075,-8.62), (-1.075,-8.62,-0.655,8.62), (0.655,-8.62,1.075,8.62), (-1.075,8.62,1.075,9.04)])
R(c_sky130_fd_pr__pfet_01v8____, psdm, [(-0.565,-8.125,0.565,8.125)])
R(c_sky130_fd_pr__pfet_01v8____, npc, [(-0.185,-8.505,0.185,-8.135), (-0.185,8.135,0.185,8.505)])
R(c_sky130_fd_pr__pfet_01v8____, boundary, [(-0.865,-8.83,0.865,8.83)])

c_sky130_fd_pr__nfet_01v8____ = lib.new_cell('sky130_fd_pr__nfet_01v8_RMGWKL')
R(c_sky130_fd_pr__nfet_01v8____, diff, [(-0.44,-4,0.44,4)])
R(c_sky130_fd_pr__nfet_01v8____, tap, [(-0.95,-4.87,0.95,-4.7), (-0.95,-4.7,-0.78,4.7), (0.78,-4.7,0.95,4.7), (-0.95,4.7,0.95,4.87)])
R(c_sky130_fd_pr__nfet_01v8____, poly, [(-0.165,-4.44,0.165,-4.11), (-0.15,-4.11,0.15,4.11), (-0.165,4.11,0.165,4.44)])
A(c_sky130_fd_pr__nfet_01v8____, licon, -0.425, -4.87, 0.17, 0.17, 3, 2, 0.34, 9.57)
A(c_sky130_fd_pr__nfet_01v8____, licon, -0.95, -4.335, 0.17, 0.17, 1, 26, 0, 0.34)
A(c_sky130_fd_pr__nfet_01v8____, licon, 0.78, -4.335, 0.17, 0.17, 1, 26, 0, 0.34)
A(c_sky130_fd_pr__nfet_01v8____, licon, -0.38, -3.825, 0.17, 0.17, 1, 23, 0, 0.34)
A(c_sky130_fd_pr__nfet_01v8____, licon, 0.21, -3.825, 0.17, 0.17, 1, 23, 0, 0.34)
R(c_sky130_fd_pr__nfet_01v8____, licon, [(-0.085,-4.36,0.085,-4.19), (-0.085,4.19,0.085,4.36)])
R(c_sky130_fd_pr__nfet_01v8____, li1, [(-0.95,-4.87,0.95,-4.7), (-0.95,-4.7,-0.78,4.7), (0.78,-4.7,0.95,4.7), (-0.165,-4.36,0.165,-4.19), (-0.38,-4.02,-0.21,4.02), (0.21,-4.02,0.38,4.02), (-0.165,4.19,0.165,4.36), (-0.95,4.7,0.95,4.87)])
A(c_sky130_fd_pr__nfet_01v8____, mcon, -0.38, -3.865, 0.17, 0.17, 1, 22, 0, 0.36)
A(c_sky130_fd_pr__nfet_01v8____, mcon, 0.21, -3.865, 0.17, 0.17, 1, 22, 0, 0.36)
R(c_sky130_fd_pr__nfet_01v8____, mcon, [(-0.085,-4.36,0.085,-4.19), (-0.085,4.19,0.085,4.36)])
R(c_sky130_fd_pr__nfet_01v8____, met1, [(-0.145,-4.39,0.145,-4.16), (-0.41,-4,-0.18,4), (0.18,-4,0.41,4), (-0.145,4.16,0.145,4.39)])
R(c_sky130_fd_pr__nfet_01v8____, nsdm, [(-0.565,-4.125,0.565,4.125)])
R(c_sky130_fd_pr__nfet_01v8____, psdm, [(-1.075,-4.995,1.075,-4.575), (-1.075,-4.575,-0.655,4.575), (0.655,-4.575,1.075,4.575), (-1.075,4.575,1.075,4.995)])
R(c_sky130_fd_pr__nfet_01v8____, npc, [(-0.185,-4.46,0.185,-4.09), (-0.185,4.09,0.185,4.46)])
R(c_sky130_fd_pr__nfet_01v8____, boundary, [(-0.865,-4.785,0.865,4.785)])

ff_inv = lib.new_cell('ff_inv')
R(ff_inv, li1, [(12.35,-11,14.6,-10.65), (12.3,17.75,14.65,18.2)])
A(ff_inv, mcon, 12.49, -10.91, 0.17, 0.17, 6, 2, 0.36, 28.8)
R(ff_inv, met1_pin, [(12.35,-11.95,13.35,-10.95), (11.55,-1,12.55,0), (14.65,-1,15.65,0), (12.3,18.2,13.3,19.2)])
R(ff_inv, met1, [(12.35,-11.95,14.65,-10.65), (12.86,-10.65,13.07,-9.47), (13.3,-10.43,13.64,-10.09), (13.85,-2.35,14.05,-0.65), (13.25,-1.75,13.65,-1.35), (13.3,-1.35,13.65,-0.65), (11.55,-1,12.55,-0.65), (14.65,-1,15.65,-0.65), (11.55,-0.65,13.65,-0.2), (13.85,-0.65,15.65,-0.2), (11.55,-0.2,12.55,0), (13.3,-0.2,13.65,0.85), (13.85,-0.2,14.05,1.45), (14.65,-0.2,15.65,0), (12.75,16.7,13.1,17.75), (13.3,17.35,13.7,17.6), (12.3,17.75,14.65,19.2)])
ff_inv.add(gdstk.Reference(c_sky130_fd_pr__pfet_01v8____, (13.48,9.145)))
ff_inv.add(gdstk.Reference(c_sky130_fd_pr__nfet_01v8____, (13.48,-5.9)))
ff_inv.add(gdstk.Label('vdd', (12.8,18.7), layer=68, texttype=5))
ff_inv.add(gdstk.Label('in', (12.05,-0.5), layer=68, texttype=5))
ff_inv.add(gdstk.Label('out', (15.15,-0.5), layer=68, texttype=5))
ff_inv.add(gdstk.Label('gnd', (12.85,-11.45), layer=68, texttype=5))

nauta_ota_dtrim2b = lib.new_cell('nauta_ota_dtrim2b')
R(nauta_ota_dtrim2b, met1_pin, [(56.25,-34.85,57.25,-33.85), (67.35,-33.75,68.35,-32.75), (70.35,-33.7,71.35,-32.7), (79.95,-33.7,80.95,-32.7), (78.45,-33.6,79.45,-32.6), (47.25,-10,48.25,-9), (50.9,3.05,51.9,4.05), (47,16.6,48,17.6), (50.35,38.4,51.35,39.4), (69.05,40.35,70.05,41.35), (70.6,40.4,71.6,41.4), (78.65,40.4,79.65,41.4), (56.5,40.45,57.5,41.45), (80.4,40.45,81.4,41.45)])
R(nauta_ota_dtrim2b, met1, [(56.15,-35.2,58.4,-33.8), (67.2,-34,68.55,-32.65), (70.35,-33.7,71.35,-32.7), (79.95,-33.7,80.95,-32.7), (78.45,-33.6,79.45,-32.6), (49.1,-32.15,86.15,-28.7), (52.8,-28.7,62,-20.85), (72.05,-28.7,84.5,-16.2), (80.25,-15.15,81.5,-13.8), (70.25,-14,71.45,-12.6), (63.4,-10.2,65.15,-7.9), (47.25,-10.15,48.9,-8.75), (51.7,-10,60.2,-9), (75.3,-9.4,76.25,-7.95), (67.95,-9.35,71.4,-8.25), (84.7,-9.3,85.65,-7.85), (56.65,-9,58.5,-7.65), (76.95,-8.9,77.65,-8.85), (76.95,-8.85,81.25,-8.15), (67.95,-8.25,68.9,-6.75), (76.95,-8.15,77.65,-6.65), (67.7,-6.75,69,-5.45), (76.8,-6.65,77.8,-5.5), (70.1,-6.3,71.2,-5.25), (78.5,-4.8,79.55,-4.7), (78.45,-4.7,81.4,-3.9), (78.45,-3.9,79.7,-3.6), (71.75,-2.25,84.15,1), (52.85,-1.45,62.3,1), (49.2,1,86.15,6.55), (52.85,6.55,62.3,9.2), (71.75,6.55,84.15,11.1), (78.65,12.15,81.65,13.1), (67.25,13.3,68.5,14.95), (69.05,13.35,70.15,13.65), (76.8,13.35,78,16.6), (69.05,13.65,71.5,14.45), (69.05,14.45,70.15,14.95), (67.4,14.95,68.3,16.75), (56.8,15.45,58.55,16.55), (62.7,15.95,64.55,18.3), (84.7,16.15,85.8,17.7), (46.9,16.3,48.55,17.7), (75,16.3,76.1,17.85), (51.5,16.55,55.35,17.55), (55.95,16.55,60.35,17.55), (76.8,16.6,81.35,17.15), (67.4,16.75,71.5,17.55), (76.85,17.15,81.35,17.3), (56.8,17.55,58.55,17.75), (70.55,20.75,71.55,22.05), (80.4,22.55,81.5,23.6), (71.8,24.5,84.5,36.15), (52.85,28.85,62.1,36.15), (49.1,36.15,86.2,39.85), (69.05,40.35,70.05,41.35), (56.3,40.4,57.95,41.95), (70.6,40.4,71.6,41.4), (78.65,40.4,79.65,41.4), (80.4,40.45,81.4,41.45)])
A(nauta_ota_dtrim2b, via, 56.77, -34.71, 0.15, 0.15, 4, 2, 0.32, 0.32)
A(nauta_ota_dtrim2b, via, 67.38, -33.66, 0.15, 0.15, 3, 2, 0.32, 0.32)
A(nauta_ota_dtrim2b, via, 51.54, -31.52, 0.15, 0.15, 7, 8, 0.32, 0.32)
A(nauta_ota_dtrim2b, via, 80.615, -14.895, 0.15, 0.15, 1, 3, 0, 0.32)
A(nauta_ota_dtrim2b, via, 80.935, -14.895, 0.15, 0.15, 1, 3, 0, 0.32)
A(nauta_ota_dtrim2b, via, 70.455, -13.67, 0.15, 0.15, 3, 3, 0.32, 0.32)
A(nauta_ota_dtrim2b, via, 57.005, -9.38, 0.15, 0.15, 3, 4, 0.32, 0.32)
A(nauta_ota_dtrim2b, via, 63.905, -9.32, 0.15, 0.15, 3, 3, 0.32, 0.32)
A(nauta_ota_dtrim2b, via, 75.7, -9.07, 0.15, 0.15, 1, 3, 0, 0.32)
A(nauta_ota_dtrim2b, via, 78.605, -4.46, 0.15, 0.15, 3, 2, 0.32, 0.32)
A(nauta_ota_dtrim2b, via, 69.29, 13.805, 0.15, 0.15, 1, 3, 0, 0.32)
A(nauta_ota_dtrim2b, via, 69.61, 13.805, 0.15, 0.15, 1, 3, 0, 0.32)
A(nauta_ota_dtrim2b, via, 57.155, 16.28, 0.15, 0.15, 3, 3, 0.32, 0.32)
A(nauta_ota_dtrim2b, via, 63.055, 16.67, 0.15, 0.15, 3, 4, 0.32, 0.32)
A(nauta_ota_dtrim2b, via, 84.99, 16.68, 0.15, 0.15, 1, 3, 0, 0.32)
A(nauta_ota_dtrim2b, via, 85.31, 16.68, 0.15, 0.15, 1, 3, 0, 0.32)
A(nauta_ota_dtrim2b, via, 75.29, 16.78, 0.15, 0.15, 1, 3, 0, 0.32)
A(nauta_ota_dtrim2b, via, 75.61, 16.78, 0.15, 0.15, 1, 3, 0, 0.32)
A(nauta_ota_dtrim2b, via, 51.44, 36.63, 0.15, 0.15, 7, 8, 0.32, 0.32)
A(nauta_ota_dtrim2b, via, 56.705, 40.855, 0.15, 0.15, 3, 3, 0.32, 0.32)
R(nauta_ota_dtrim2b, via, [(70.59,-33.485,70.74,-33.335), (70.91,-33.485,71.06,-33.335), (80.165,-33.435,80.315,-33.285), (80.485,-33.435,80.635,-33.285), (78.64,-33.385,78.79,-33.235), (78.96,-33.385,79.11,-33.235), (70.59,-33.165,70.74,-33.015), (70.91,-33.165,71.06,-33.015), (80.165,-33.115,80.315,-32.965), (80.485,-33.115,80.635,-32.965), (78.64,-33.065,78.79,-32.915), (78.96,-33.065,79.11,-32.915), (84.915,-8.785,85.065,-8.635), (85.235,-8.785,85.385,-8.635), (84.915,-8.465,85.065,-8.315), (85.235,-8.465,85.385,-8.315), (68.165,-6.31,68.315,-6.16), (68.485,-6.31,68.635,-6.16), (77.065,-6.285,77.215,-6.135), (77.385,-6.285,77.535,-6.135), (70.365,-6.06,70.515,-5.91), (70.685,-6.06,70.835,-5.91), (68.165,-5.99,68.315,-5.84), (68.485,-5.99,68.635,-5.84), (77.065,-5.965,77.215,-5.815), (77.385,-5.965,77.535,-5.815), (70.365,-5.74,70.515,-5.59), (70.685,-5.74,70.835,-5.59), (78.94,12.415,79.09,12.565), (79.26,12.415,79.41,12.565), (78.94,12.735,79.09,12.885), (79.26,12.735,79.41,12.885), (77.015,13.84,77.165,13.99), (77.335,13.84,77.485,13.99), (67.59,13.89,67.74,14.04), (67.91,13.89,68.06,14.04), (77.015,14.16,77.165,14.31), (77.335,14.16,77.485,14.31), (67.59,14.21,67.74,14.36), (67.91,14.21,68.06,14.36), (70.765,21.14,70.915,21.29), (71.085,21.14,71.235,21.29), (70.765,21.46,70.915,21.61), (71.085,21.46,71.235,21.61), (80.69,22.865,80.84,23.015), (81.01,22.865,81.16,23.015), (80.69,23.185,80.84,23.335), (81.01,23.185,81.16,23.335), (69.265,40.59,69.415,40.74), (69.585,40.59,69.735,40.74), (78.84,40.64,78.99,40.79), (79.16,40.64,79.31,40.79), (70.915,40.69,71.065,40.84), (71.235,40.69,71.385,40.84), (80.615,40.715,80.765,40.865), (80.935,40.715,81.085,40.865), (69.265,40.91,69.415,41.06), (69.585,40.91,69.735,41.06), (78.84,40.96,78.99,41.11), (79.16,40.96,79.31,41.11), (70.915,41.01,71.065,41.16), (71.235,41.01,71.385,41.16), (80.615,41.035,80.765,41.185), (80.935,41.035,81.085,41.185)])
R(nauta_ota_dtrim2b, met2, [(56.15,-35.2,58.4,-10), (67.2,-34,68.55,-32.65), (70.25,-33.9,71.45,-12.6), (79.95,-33.7,80.95,-32.7), (78.45,-33.6,79.45,-32.6), (80.2,-32.7,80.9,-15.15), (67.35,-32.65,68.25,-11.65), (78.6,-32.6,79.4,-4.8), (51.15,-32.05,54.05,-28.8), (51.15,-28.8,53.85,39.35), (80.2,-15.15,81.5,-14.2), (80.25,-14.2,81.5,-13.8), (67.35,-11.65,71,-10.9), (70.1,-10.9,71,-6.3), (63.4,-10.2,65.15,-10.15), (63.4,-10.15,66.75,-7.9), (56.15,-10,58.5,-7.75), (75.3,-9.4,76.25,-7.95), (84.7,-9.3,85.65,-8.55), (84.7,-8.55,86.15,-7.85), (75.5,-7.95,76.25,-1.1), (65.15,-7.9,66.75,-1.1), (85.4,-7.85,86.15,-1.1), (56.65,-7.75,58.5,-7.65), (56.9,-7.65,58.25,-6.65), (67.6,-6.75,69,-5.5), (56.9,-6.65,58.35,-5.4), (76.8,-6.65,77.8,-5.5), (70.1,-6.3,71.2,-5.25), (56.9,-5.4,58.25,3.75), (78.45,-4.8,79.7,-3.65), (65.15,-1.1,86.15,-0.05), (65.15,-0.05,66.75,18.8), (63,3.7,64.35,3.75), (56.9,3.75,64.35,5.4), (57,5.4,64.35,5.65), (63,5.65,64.35,15.95), (68.1,8.15,85.6,8.85), (68.1,8.85,85.65,9.25), (75.15,9.25,76,16.3), (84.8,9.25,85.65,16.15), (78.65,12.15,79.7,41.4), (56.7,13.3,58.3,15.45), (67.25,13.3,68.5,14.95), (69.05,13.35,70.15,14.95), (76.85,13.45,77.95,15.05), (69.2,14.95,70.05,40.35), (56.7,15.45,58.55,16.4), (62.7,15.95,64.55,18.3), (84.7,16.15,85.8,17.7), (75,16.3,76.1,17.85), (56.8,16.4,58.55,17.75), (56.85,17.75,58.35,18.8), (56.85,18.8,66.8,19.5), (56.3,19.5,66.8,20.5), (56.3,20.5,57.95,41.95), (65.15,20.5,66.75,20.55), (70.55,20.75,71.55,22.05), (70.6,22.05,71.3,40.4), (80.4,22.55,81.5,23.6), (80.4,23.6,81.45,41.5), (69.05,40.35,70.05,41.35), (70.6,40.4,71.6,41.4)])
R(nauta_ota_dtrim2b, via2, [(77.2,-6.35,77.4,-6.15), (57.25,-6.175,57.45,-5.975), (57.65,-6.175,57.85,-5.975), (68.1,-6.175,68.3,-5.975), (68.5,-6.175,68.7,-5.975), (77.2,-5.95,77.4,-5.75), (68.55,8.35,68.75,8.55), (68.95,8.35,69.15,8.55), (63.3,8.4,63.5,8.6), (63.7,8.4,63.9,8.6), (68.55,8.75,68.75,8.95), (68.95,8.75,69.15,8.95), (63.3,8.8,63.5,9), (63.7,8.8,63.9,9), (77.15,13.775,77.35,13.975), (57.175,13.8,57.375,14), (57.575,13.8,57.775,14), (67.725,13.825,67.925,14.025), (77.15,14.175,77.35,14.375), (57.175,14.2,57.375,14.4), (57.575,14.2,57.775,14.4), (67.725,14.225,67.925,14.425)])
R(nauta_ota_dtrim2b, met3, [(56.95,-6.65,58.35,-6.6), (76.8,-6.65,77.8,-6.6), (56.95,-6.6,77.8,-5.65), (56.95,-5.65,58.35,-5.4), (76.8,-5.65,77.8,-5.5), (62.95,7.95,69.5,9.55), (56.65,13.4,77.8,14.75)])
nauta_ota_dtrim2b.add(gdstk.Reference(cc_inv_dt05_long, (75.75,-12.6), x_reflection=True))
nauta_ota_dtrim2b.add(gdstk.Reference(cc_inv_dt05_long, (75.75,20.95)))
nauta_ota_dtrim2b.add(gdstk.Reference(cc_inv_dt05, (66.05,-13.95), x_reflection=True))
nauta_ota_dtrim2b.add(gdstk.Reference(cc_inv_dt05, (65.95,22.15)))
nauta_ota_dtrim2b.add(gdstk.Reference(cc_inv_4, (56.1,-11.85), x_reflection=True))
nauta_ota_dtrim2b.add(gdstk.Reference(cc_inv_4, (55.95,19.4)))
nauta_ota_dtrim2b.add(gdstk.Reference(sc_inv, (47.35,-13.3), x_reflection=True))
nauta_ota_dtrim2b.add(gdstk.Reference(sc_inv, (47.3,20.85)))
nauta_ota_dtrim2b.add(gdstk.Reference(ff_inv, (37.05,-10), x_reflection=True))
nauta_ota_dtrim2b.add(gdstk.Reference(ff_inv, (36.85,17.55)))
nauta_ota_dtrim2b.add(gdstk.Label('vdd', (50.85,38.9), layer=68, texttype=5))
nauta_ota_dtrim2b.add(gdstk.Label('out_n', (57,40.95), layer=68, texttype=5))
nauta_ota_dtrim2b.add(gdstk.Label('in_p', (47.5,17.1), layer=68, texttype=5))
nauta_ota_dtrim2b.add(gdstk.Label('out_p', (56.75,-34.35), layer=68, texttype=5))
nauta_ota_dtrim2b.add(gdstk.Label('in_n', (47.75,-9.5), layer=68, texttype=5))
nauta_ota_dtrim2b.add(gdstk.Label('sw_p_A1', (71.1,40.9), layer=68, texttype=5))
nauta_ota_dtrim2b.add(gdstk.Label('sw_p_B1', (70.85,-33.2), layer=68, texttype=5))
nauta_ota_dtrim2b.add(gdstk.Label('sw_p_A05', (80.9,40.95), layer=68, texttype=5))
nauta_ota_dtrim2b.add(gdstk.Label('sw_p_B05', (80.45,-33.2), layer=68, texttype=5))
nauta_ota_dtrim2b.add(gdstk.Label('sw_n_A1', (69.55,40.85), layer=68, texttype=5))
nauta_ota_dtrim2b.add(gdstk.Label('sw_n_B1', (67.85,-33.25), layer=68, texttype=5))
nauta_ota_dtrim2b.add(gdstk.Label('sw_n_A05', (79.15,40.9), layer=68, texttype=5))
nauta_ota_dtrim2b.add(gdstk.Label('sw_n_B05', (78.95,-33.1), layer=68, texttype=5))
nauta_ota_dtrim2b.add(gdstk.Label('gnd', (51.4,3.55), layer=68, texttype=5))

lib.write_gds('nauta_ota_dtrim2b.gds')
